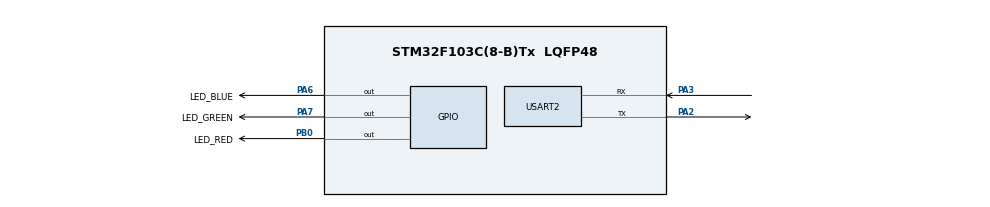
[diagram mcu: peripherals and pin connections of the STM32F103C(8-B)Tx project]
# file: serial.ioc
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Dma.Request0=USART2_TX
Dma.Request1=USART2_RX
Dma.USART2_RX.1.Direction=DMA_PERIPH_TO_MEMORY
Dma.USART2_RX.1.Instance=DMA1_Channel6
Dma.USART2_RX.1.MemDataAlignment=DMA_MDATAALIGN_BYTE
Dma.USART2_RX.1.MemInc=DMA_MINC_ENABLE
Dma.USART2_RX.1.Mode=DMA_NORMAL
Dma.USART2_RX.1.PeriphDataAlignment=DMA_PDATAALIGN_BYTE
Dma.USART2_RX.1.PeriphInc=DMA_PINC_DISABLE
Dma.USART2_RX.1.Priority=DMA_PRIORITY_LOW
Dma.USART2_TX.0.Direction=DMA_MEMORY_TO_PERIPH
Dma.USART2_TX.0.Instance=DMA1_Channel7
Dma.USART2_TX.0.MemDataAlignment=DMA_MDATAALIGN_BYTE
Dma.USART2_TX.0.MemInc=DMA_MINC_ENABLE
Dma.USART2_TX.0.Mode=DMA_NORMAL
Dma.USART2_TX.0.PeriphDataAlignment=DMA_PDATAALIGN_BYTE
Dma.USART2_TX.0.PeriphInc=DMA_PINC_DISABLE
Dma.USART2_TX.0.Priority=DMA_PRIORITY_LOW
Mcu.Family=STM32F1
Mcu.Name=STM32F103C(8-B)Tx
Mcu.Package=LQFP48
NVIC.DMA1_Channel6_IRQn=true\:0\:0\:false\:false\:true\:false\:true\:true
NVIC.DMA1_Channel7_IRQn=true\:0\:0\:false\:false\:true\:false\:true\:true
NVIC.PriorityGroup=NVIC_PRIORITYGROUP_4
NVIC.USART2_IRQn=true\:0\:0\:false\:false\:true\:true\:true\:true
PA13.Mode=Serial_Wire
PA13.Signal=SYS_JTMS-SWDIO
PA14.Mode=Serial_Wire
PA14.Signal=SYS_JTCK-SWCLK
PA2.Mode=Asynchronous
PA2.Signal=USART2_TX
PA3.Mode=Asynchronous
PA3.Signal=USART2_RX
PA6.GPIO_Label=LED_BLUE
PA6.Signal=GPIO_Output
PA7.GPIO_Label=LED_GREEN
PA7.Signal=GPIO_Output
PB0.GPIO_Label=LED_RED
PB0.Signal=GPIO_Output
ProjectManager.HeapSize=0x200
ProjectManager.StackSize=0x400
ProjectManager.TargetToolchain=STM32CubeIDE
RCC.APB1Freq_Value=8000000
RCC.APB2Freq_Value=8000000
USART2.VirtualMode=VM_ASYNC
board=custom

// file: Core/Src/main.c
/* USER CODE BEGIN Header */
/**
  ******************************************************************************
  * @file           : main.c
  * @brief          : Main program body
  ******************************************************************************
  * @attention
  *
  * Copyright (c) 2026 STMicroelectronics.
  * All rights reserved.
  *
  * This software is licensed under terms that can be found in the LICENSE file
  * in the root directory of this software component.
  * If no LICENSE file comes with this software, it is provided AS-IS.
  *
  ******************************************************************************
  */
/* USER CODE END Header */
#include "main.h"

/* USER CODE BEGIN Includes */
#include<string.h>
/* USER CODE END Includes */

UART_HandleTypeDef huart2;
DMA_HandleTypeDef hdma_usart2_tx;
DMA_HandleTypeDef hdma_usart2_rx;

/* USER CODE BEGIN PV */
uint8_t ReceiveData[50];
/* USER CODE END PV */

void SystemClock_Config(void);
static void MX_GPIO_Init(void);
static void MX_DMA_Init(void);
static void MX_USART2_UART_Init(void);

/* USER CODE BEGIN 0 */
void HAL_UART_RxCpltCallback(UART_HandleTypeDef *huart)
{
	GPIO_PinState state = GPIO_PIN_SET;
	if(ReceiveData[1] == '0') state = GPIO_PIN_RESET;
	if(ReceiveData[0] == 'R')
	{
		HAL_GPIO_WritePin(LED_RED_GPIO_Port, LED_RED_Pin, state);
	}
	else if(ReceiveData[0] == 'G')
	{
		HAL_GPIO_WritePin(LED_GREEN_GPIO_Port, LED_GREEN_Pin, state);
	}
	else if(ReceiveData[0] == 'B')
	{
		  HAL_GPIO_WritePin(LED_BLUE_GPIO_Port, LED_BLUE_Pin, state);
	}
	HAL_UART_Transmit_DMA(&huart2, ReceiveData, 2);
	HAL_UART_Receive_DMA(huart, ReceiveData, 2);
}
void HAL_UARTEx_RxEventCallback(UART_HandleTypeDef *huart, uint16_t Size)
{
	if(huart == &huart2)
	{
		HAL_UART_Transmit_DMA(&huart2, ReceiveData, Size);
		HAL_UARTEx_ReceiveToIdle_DMA(&huart2, ReceiveData, sizeof(ReceiveData));
		__HAL_DMA_DISABLE_IT(&hdma_usart2_rx,DMA_IT_HT);
		GPIO_PinState state = GPIO_PIN_SET;
			if(ReceiveData[1] == '0') state = GPIO_PIN_RESET;
			if(ReceiveData[0] == 'R')
			{
				HAL_GPIO_WritePin(LED_RED_GPIO_Port, LED_RED_Pin, state);
			}
			else if(ReceiveData[0] == 'G')
			{
				HAL_GPIO_WritePin(LED_GREEN_GPIO_Port, LED_GREEN_Pin, state);
			}
			else if(ReceiveData[0] == 'B')
			{
				  HAL_GPIO_WritePin(LED_BLUE_GPIO_Port, LED_BLUE_Pin, state);
			}
			HAL_UART_Transmit_DMA(&huart2, ReceiveData, 2);
			HAL_UART_Receive_DMA(huart, ReceiveData, 2);
	}
}
/* USER CODE END 0 */

int main(void)
{

  /* MCU Configuration--------------------------------------------------------*/

  /* Reset of all peripherals, Initializes the Flash interface and the Systick. */
  HAL_Init();

  /* Configure the system clock */
  SystemClock_Config();

  /* Initialize all configured peripherals */
  MX_GPIO_Init();
  MX_DMA_Init();
  MX_USART2_UART_Init();
  /* USER CODE BEGIN 2 */
//  char message[] = "Hello world";
  HAL_UARTEx_ReceiveToIdle_DMA(&huart2, ReceiveData, sizeof(ReceiveData));
  __HAL_DMA_DISABLE_IT(&hdma_usart2_rx,DMA_IT_HT);
  /* USER CODE END 2 */

  /* Infinite loop */
  /* USER CODE BEGIN WHILE */
  while (1)
  {
//	  HAL_UART_Receive(&huart2, ReceiveData, 2, HAL_MAX_DELAY);

//	  HAL_UART_Transmit(&huart2, ReceiveData, 2, 100);

//	  HAL_Delay(1000);
    /* USER CODE END WHILE */

  }
}

void SystemClock_Config(void)
{
  RCC_OscInitTypeDef RCC_OscInitStruct = {0};
  RCC_ClkInitTypeDef RCC_ClkInitStruct = {0};

  /** Initializes the RCC Oscillators according to the specified parameters
  * in the RCC_OscInitTypeDef structure.
  */
  RCC_OscInitStruct.OscillatorType = RCC_OSCILLATORTYPE_HSI;
  RCC_OscInitStruct.HSIState = RCC_HSI_ON;
  RCC_OscInitStruct.HSICalibrationValue = RCC_HSICALIBRATION_DEFAULT;
  RCC_OscInitStruct.PLL.PLLState = RCC_PLL_NONE;
  if (HAL_RCC_OscConfig(&RCC_OscInitStruct) != HAL_OK)
  {
    Error_Handler();
  }

  /** Initializes the CPU, AHB and APB buses clocks
  */
  RCC_ClkInitStruct.ClockType = RCC_CLOCKTYPE_HCLK|RCC_CLOCKTYPE_SYSCLK
                              |RCC_CLOCKTYPE_PCLK1|RCC_CLOCKTYPE_PCLK2;
  RCC_ClkInitStruct.SYSCLKSource = RCC_SYSCLKSOURCE_HSI;
  RCC_ClkInitStruct.AHBCLKDivider = RCC_SYSCLK_DIV1;
  RCC_ClkInitStruct.APB1CLKDivider = RCC_HCLK_DIV1;
  RCC_ClkInitStruct.APB2CLKDivider = RCC_HCLK_DIV1;

  if (HAL_RCC_ClockConfig(&RCC_ClkInitStruct, FLASH_LATENCY_0) != HAL_OK)
  {
    Error_Handler();
  }
}

static void MX_USART2_UART_Init(void)
{

  huart2.Instance = USART2;
  huart2.Init.BaudRate = 115200;
  huart2.Init.WordLength = UART_WORDLENGTH_8B;
  huart2.Init.StopBits = UART_STOPBITS_1;
  huart2.Init.Parity = UART_PARITY_NONE;
  huart2.Init.Mode = UART_MODE_TX_RX;
  huart2.Init.HwFlowCtl = UART_HWCONTROL_NONE;
  huart2.Init.OverSampling = UART_OVERSAMPLING_16;
  if (HAL_UART_Init(&huart2) != HAL_OK)
  {
    Error_Handler();
  }

}

static void MX_DMA_Init(void)
{

  /* DMA controller clock enable */
  __HAL_RCC_DMA1_CLK_ENABLE();

  /* DMA interrupt init */
  /* DMA1_Channel6_IRQn interrupt configuration */
  HAL_NVIC_SetPriority(DMA1_Channel6_IRQn, 0, 0);
  HAL_NVIC_EnableIRQ(DMA1_Channel6_IRQn);
  /* DMA1_Channel7_IRQn interrupt configuration */
  HAL_NVIC_SetPriority(DMA1_Channel7_IRQn, 0, 0);
  HAL_NVIC_EnableIRQ(DMA1_Channel7_IRQn);

}

static void MX_GPIO_Init(void)
{
  GPIO_InitTypeDef GPIO_InitStruct = {0};

  /* GPIO Ports Clock Enable */
  __HAL_RCC_GPIOA_CLK_ENABLE();
  __HAL_RCC_GPIOB_CLK_ENABLE();

  /*Configure GPIO pin Output Level */
  HAL_GPIO_WritePin(GPIOA, LED_BLUE_Pin|LED_GREEN_Pin, GPIO_PIN_RESET);

  /*Configure GPIO pin Output Level */
  HAL_GPIO_WritePin(LED_RED_GPIO_Port, LED_RED_Pin, GPIO_PIN_RESET);

  /*Configure GPIO pins : LED_BLUE_Pin LED_GREEN_Pin */
  GPIO_InitStruct.Pin = LED_BLUE_Pin|LED_GREEN_Pin;
  GPIO_InitStruct.Mode = GPIO_MODE_OUTPUT_PP;
  GPIO_InitStruct.Pull = GPIO_NOPULL;
  GPIO_InitStruct.Speed = GPIO_SPEED_FREQ_LOW;
  HAL_GPIO_Init(GPIOA, &GPIO_InitStruct);

  /*Configure GPIO pin : LED_RED_Pin */
  GPIO_InitStruct.Pin = LED_RED_Pin;
  GPIO_InitStruct.Mode = GPIO_MODE_OUTPUT_PP;
  GPIO_InitStruct.Pull = GPIO_NOPULL;
  GPIO_InitStruct.Speed = GPIO_SPEED_FREQ_LOW;
  HAL_GPIO_Init(LED_RED_GPIO_Port, &GPIO_InitStruct);

}

void Error_Handler(void)
{
  __disable_irq();
  while (1)
  {
  }
}
